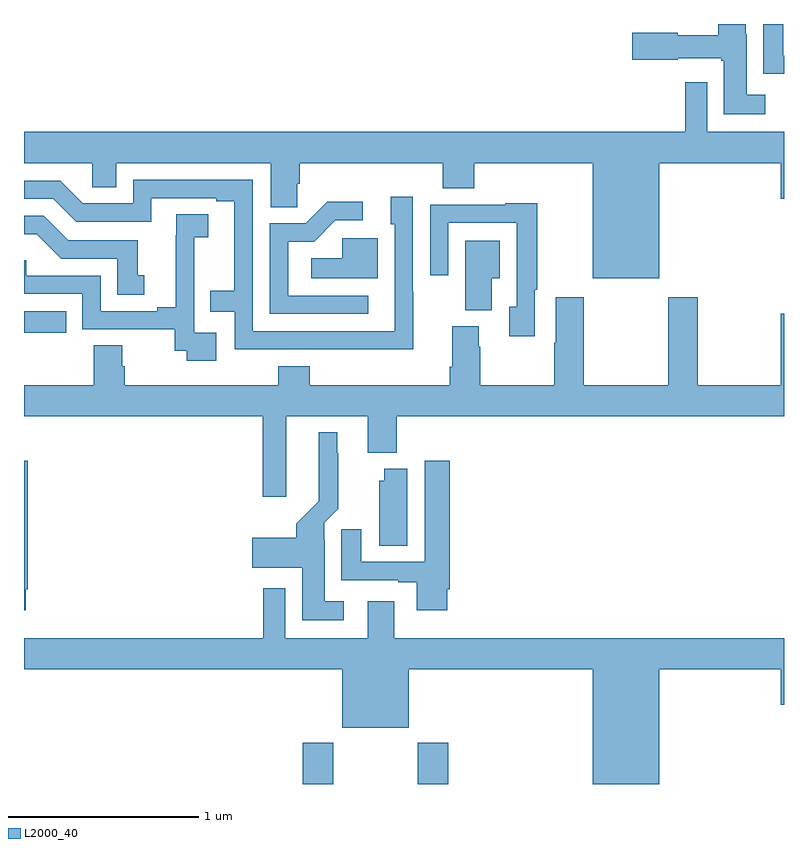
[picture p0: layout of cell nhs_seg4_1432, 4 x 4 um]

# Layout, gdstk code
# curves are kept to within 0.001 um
import gdstk
lib = gdstk.Library(unit=1e-6, precision=1e-09)
def R(c, l, rs):  # rectangles x0, y0, x1, y1
    for r in rs: c.add(gdstk.rectangle(r[:2], r[2:], *l))
def P(c, l, *ps):  # polygons
    for p in ps: c.add(gdstk.Polygon(p, *l))
L2000_40 = (2000, 40)

nhs_seg4_1432 = lib.new_cell('nhs_seg4_1432')
R(nhs_seg4_1432, L2000_40, [(186.467,778.9,186.627,779.116), (187.072,778.9,187.232,779.116), (185,781.274,185.222,781.389)])
P(nhs_seg4_1432, L2000_40, [(188.902,782.527),(188.803,782.527),(188.803,782.846),(188.799,782.846),(188.799,782.9),(188.654,782.9),(188.654,782.842),(188.442,782.842),(188.442,782.855),(188.202,782.855),(188.202,782.713),(188.442,782.713),(188.442,782.72),(188.67,782.72),(188.67,782.706),(188.684,782.706),(188.684,782.426),(188.902,782.426)],
  [(189,782.733),(188.995,782.733),(188.995,782.9),(188.891,782.9),(188.891,782.637),(189,782.637)],
  [(185,782.168),(185.358,782.168),(185.358,782.041),(185.485,782.041),(185.485,782.168),(186.299,782.168),(186.299,781.936),(186.438,781.936),(186.438,782.059),(186.452,782.059),(186.452,782.168),(187.205,782.168),(187.205,782.035),(187.37,782.035),(187.37,782.168),(187.994,782.168),(187.994,781.562),(188.344,781.562),(188.344,782.168),(188.984,782.168),(188.984,781.98),(189,781.98),(189,782.332),(188.595,782.332),(188.595,782.593),(188.479,782.593),(188.479,782.332),(185,782.332)],
  [(187.049,781.49),(187.047,781.49),(187.047,781.99),(186.929,781.99),(186.929,781.845),(186.951,781.845),(186.951,781.284),(186.204,781.284),(186.204,782.079),(185.574,782.079),(185.574,781.956),(185.31,781.956),(185.19,782.076),(185,782.076),(185,781.98),(185.154,781.98),(185.274,781.86),(185.67,781.86),(185.67,781.983),(186.011,781.983),(186.011,781.968),(186.107,781.968),(186.107,781.495),(185.98,781.495),(185.98,781.386),(186.108,781.386),(186.108,781.188),(187.049,781.187)],
  [(186.811,781.47),(186.39,781.47),(186.39,781.755),(186.528,781.755),(186.639,781.866),(186.784,781.866),(186.784,781.964),(186.596,781.964),(186.483,781.851),(186.294,781.851),(186.294,781.374),(186.811,781.374)],
  [(187.689,781.501),(187.702,781.501),(187.702,781.957),(187.533,781.957),(187.533,781.95),(187.137,781.95),(187.137,781.578),(187.233,781.578),(187.233,781.854),(187.593,781.854),(187.593,781.413),(187.553,781.413),(187.553,781.257),(187.689,781.257)],
  [(186.013,781.275),(185.895,781.275),(185.895,781.579),(185.897,781.579),(185.897,781.777),(185.971,781.777),(185.971,781.898),(185.8,781.898),(185.8,781.787),(185.798,781.787),(185.798,781.409),(185.702,781.409),(185.702,781.389),(185.403,781.389),(185.403,781.575),(185.013,781.575),(185.013,781.657),(185,781.657),(185,781.479),(185.307,781.479),(185.307,781.293),(185.794,781.293),(185.794,781.179),(185.857,781.179),(185.857,781.128),(186.013,781.128)],
  [(185.632,781.578),(185.599,781.578),(185.599,781.761),(185.232,781.761),(185.103,781.89),(185,781.89),(185,781.793),(185.068,781.793),(185.196,781.665),(185.492,781.665),(185.492,781.474),(185.632,781.474)],
  [(186.862,781.773),(186.675,781.773),(186.675,781.666),(186.513,781.666),(186.513,781.562),(186.862,781.562)],
  [(187.462,781.562),(187.504,781.562),(187.504,781.759),(187.322,781.759),(187.322,781.393),(187.462,781.393)],
  [(185.366,781.208),(185.366,781),(185,781),(185,780.836),(186.257,780.836),(186.257,780.411),(186.379,780.411),(186.379,780.836),(186.809,780.836),(186.809,780.644),(186.962,780.644),(186.962,780.836),(189,780.836),(189,781.375),(188.984,781.375),(188.984,781),(188.547,781),(188.547,781.462),(188.392,781.462),(188.392,781),(187.947,781),(187.947,781.462),(187.799,781.462),(187.799,781.223),(187.792,781.223),(187.792,781),(187.401,781),(187.401,781.202),(187.393,781.202),(187.393,781.308),(187.253,781.308),(187.253,781.096),(187.241,781.096),(187.241,781),(186.503,781),(186.503,781.099),(186.338,781.099),(186.338,781),(185.531,781),(185.531,781.098),(185.518,781.098),(185.518,781.208)],
  [(186.682,779.863),(186.583,779.863),(186.583,780.182),(186.579,780.182),(186.579,780.276),(186.653,780.35),(186.653,780.641),(186.649,780.641),(186.649,780.751),(186.551,780.751),(186.552,780.388),(186.434,780.27),(186.434,780.196),(186.201,780.196),(186.201,780.038),(186.464,780.038),(186.464,779.762),(186.682,779.762)],
  [(185.008,779.926),(185.021,779.926),(185.021,780.601),(185,780.601),(185,779.814),(185.008,779.814)],
  [(187.228,779.926),(187.241,779.926),(187.241,780.601),(187.109,780.601),(187.109,780.069),(186.775,780.069),(186.775,780.241),(186.671,780.241),(186.671,779.973),(186.971,779.973),(186.971,779.961),(187.067,779.961),(187.067,779.814),(187.228,779.814)],
  [(187.018,780.559),(186.896,780.559),(186.896,780.495),(186.869,780.495),(186.869,780.154),(187.018,780.154)],
  [(188.344,779.504),(188.984,779.504),(188.984,779.316),(189,779.316),(189,779.668),(186.949,779.668),(186.949,779.863),(186.809,779.863),(186.809,779.668),(186.375,779.668),(186.375,779.929),(186.259,779.929),(186.259,779.668),(185,779.668),(185,779.504),(186.674,779.504),(186.674,779.195),(187.024,779.195),(187.024,779.504),(187.994,779.504),(187.994,778.9),(188.344,778.9)])

lib.write_gds('nhs_seg4_1432.gds')
